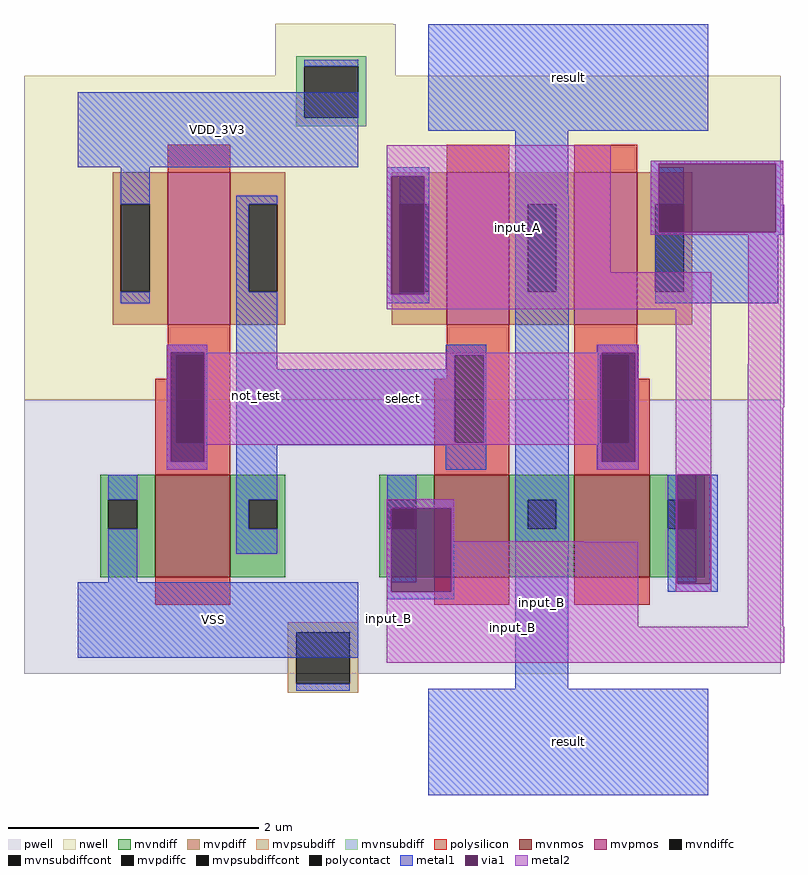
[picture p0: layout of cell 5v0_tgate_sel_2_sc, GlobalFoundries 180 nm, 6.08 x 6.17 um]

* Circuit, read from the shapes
.subckt 5v0_tgate_sel_2_sc input_A input_B result VSS select VDD_3V3 not_test
XM1 n1 select VSS VSS nfet_06v0 w=0.82u l=0.6u
XM2 result n1 input_B VSS nfet_06v0 w=0.82u l=0.6u
XM3 input_A select result VSS nfet_06v0 w=0.82u l=0.6u
XM4 n1 select VDD_3V3 VDD_3V3 pfet_06v0 w=1.22u l=0.5u
XM5 result n1 input_A VDD_3V3 pfet_06v0 w=1.22u l=0.5u
XM6 input_B select result VDD_3V3 pfet_06v0 w=1.22u l=0.5u
.ends

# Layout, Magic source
magic
tech gf180mcuD
magscale 1 10
<< nwell >>
rect -188 840 0 841
rect -188 734 4 840
rect -184 733 4 734
rect -168 724 -26 733
<< mvpsubdiff >>
rect -168 -132 -56 -116
rect -168 -214 -155 -132
rect -69 -214 -56 -132
rect -168 -228 -56 -214
<< mvnsubdiff >>
rect -155 773 -43 789
rect -155 691 -142 773
rect -56 691 -43 773
rect -155 677 -43 691
<< mvpsubdiffcont >>
rect -155 -214 -69 -132
<< mvnsubdiffcont >>
rect -142 691 -56 773
<< metal1 >>
rect -142 773 -56 784
rect -504 691 -142 732
rect -504 612 -56 691
rect 56 670 504 840
rect -10 597 58 612
rect -10 409 -3 597
rect 50 409 58 597
rect -10 394 58 409
rect -361 141 -355 182
rect -302 141 -297 182
rect -249 167 91 289
rect 144 167 147 289
rect -361 139 -297 141
rect -10 67 98 81
rect -504 -132 -56 -52
rect -10 -67 -3 67
rect 93 -67 98 67
rect -10 -79 98 -67
rect -504 -172 -155 -132
rect -69 -172 -56 -132
rect -155 -225 -69 -214
rect 195 -222 280 670
rect 412 617 624 622
rect 412 508 425 617
rect 612 508 624 617
rect 412 504 624 508
rect 419 394 616 504
rect 327 141 334 166
rect 387 141 392 166
rect 327 128 392 141
rect 439 -54 454 120
rect 507 -54 519 120
rect 439 -67 519 -54
rect 56 -392 504 -222
<< via1 >>
rect -3 409 50 597
rect -355 141 -302 316
rect -3 -67 93 67
rect 425 508 612 617
rect 334 141 387 315
rect 454 -54 507 120
<< metal2 >>
rect -10 597 348 647
rect -10 409 -3 597
rect 50 444 348 597
rect 412 617 624 622
rect 412 508 425 617
rect 612 552 624 617
rect 612 508 625 552
rect 412 504 625 508
rect 50 409 509 444
rect -10 385 509 409
rect -362 316 -297 328
rect -362 141 -355 316
rect -302 315 -297 316
rect 326 315 393 328
rect -302 168 334 315
rect -302 141 -297 168
rect -362 128 -297 141
rect 326 141 334 168
rect 387 141 393 315
rect 326 128 393 141
rect 452 120 509 385
rect 568 297 625 504
rect -10 67 98 81
rect -10 -67 -3 67
rect 93 14 98 67
rect 93 13 305 14
rect 93 -67 392 13
rect 452 -54 454 120
rect 507 -54 509 120
rect 452 -67 509 -54
rect 567 228 625 297
rect -10 -123 392 -67
rect 567 -123 624 228
rect -10 -180 625 -123
use half_gate_0  gf180mcu_fd_sc_mcu7t5v0__inv_1_0
transform 1 0 -58 0 1 -112
box -86 -86 534 870
use half_gate_0  half_tgate_0
transform -1 0 534 0 1 -112
box -86 -86 534 870
use not_internal_mod  not_internal_0
transform 1 0 -504 0 1 -112
box -86 -86 534 870
<< labels >>
rlabel metal2 50 385 348 647 1 input_A
port 1 n signal bidirectional
rlabel metal2 82 -180 392 13 1 input_B
port 2 n signal bidirectional
rlabel metal1 56 -392 504 -222 1 result
port 3 n signal bidirectional
rlabel metal1 56 670 504 840 1 result
port 3 n signal bidirectional
rlabel metal2 -302 168 334 315 1 select
port 5 n signal input
rlabel metal1 -504 612 -56 732 1 VDD_3V3
port 6 n power bidirectional
rlabel space -251 80 -185 413 1 not_test
port 7 n signal output
rlabel metal1 -504 -172 -69 -52 1 VSS
port 4 n ground bidirectional
rlabel metal2 -10 -180 -3 -40 1 input_B
port 2 n signal bidirectional
rlabel metal2 -10 -180 392 -67 1 input_B
port 2 n signal bidirectional
<< end >>

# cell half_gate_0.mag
magic
tech gf180mcuD
magscale 1 10
<< nwell >>
rect -86 352 534 870
<< pwell >>
rect -86 -86 534 352
<< mvnmos >>
rect 124 68 244 232
<< mvpmos >>
rect 144 472 244 716
<< mvndiff >>
rect 36 192 124 232
rect 36 146 49 192
rect 95 146 124 192
rect 36 68 124 146
rect 244 192 332 232
rect 244 146 273 192
rect 319 146 332 192
rect 244 68 332 146
<< mvpdiff >>
rect 56 665 144 716
rect 56 525 69 665
rect 115 525 144 665
rect 56 472 144 525
rect 244 665 332 716
rect 244 525 273 665
rect 319 525 332 665
rect 244 472 332 525
<< mvndiffc >>
rect 49 146 95 192
rect 273 146 319 192
<< mvpdiffc >>
rect 69 525 115 665
rect 273 525 319 665
<< polysilicon >>
rect 144 716 244 760
rect 144 423 244 472
rect 144 386 157 423
rect 124 283 157 386
rect 203 283 244 423
rect 124 232 244 283
rect 124 24 244 68
<< polycontact >>
rect 157 283 203 423
<< metal1 >>
rect 69 665 115 724
rect 69 506 115 525
rect 253 665 319 678
rect 253 525 273 665
rect 142 423 207 440
rect 142 283 157 423
rect 203 283 207 423
rect 142 240 207 283
rect 49 192 95 232
rect 49 60 95 146
rect 253 192 319 525
rect 253 146 273 192
rect 253 106 319 146
<< properties >>
string FIXED_BBOX 0 0 448 784
string GDS_END 476332
string GDS_FILE $PDKPATH/libs.ref/gf180mcu_fd_sc_mcu7t5v0/gds/gf180mcu_fd_sc_mcu7t5v0.gds
string GDS_START 474136
string LEFclass core
string LEFsite GF018hv5v_mcu_sc7
string LEFsymmetry X Y
<< end >>

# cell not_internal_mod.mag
magic
tech gf180mcuD
magscale 1 10
<< nwell >>
rect -86 352 534 870
<< pwell >>
rect -86 -86 534 352
<< mvnmos >>
rect 124 68 244 232
<< mvpmos >>
rect 144 472 244 716
<< mvndiff >>
rect 36 192 124 232
rect 36 146 49 192
rect 95 146 124 192
rect 36 68 124 146
rect 244 192 332 232
rect 244 146 273 192
rect 319 146 332 192
rect 244 68 332 146
<< mvpdiff >>
rect 56 665 144 716
rect 56 525 69 665
rect 115 525 144 665
rect 56 472 144 525
rect 244 665 332 716
rect 244 525 273 665
rect 319 525 332 665
rect 244 472 332 525
<< mvndiffc >>
rect 49 146 95 192
rect 273 146 319 192
<< mvpdiffc >>
rect 69 525 115 665
rect 273 525 319 665
<< polysilicon >>
rect 144 716 244 760
rect 144 423 244 472
rect 144 386 157 423
rect 124 283 157 386
rect 203 283 244 423
rect 124 232 244 283
rect 124 24 244 68
<< polycontact >>
rect 157 283 203 423
<< metal1 >>
rect 0 724 448 844
rect 69 665 115 724
rect 69 506 115 525
rect 253 665 319 678
rect 253 525 273 665
rect 142 423 207 440
rect 142 283 157 423
rect 203 283 207 423
rect 142 240 207 283
rect 49 192 95 232
rect 49 60 95 146
rect 253 192 319 525
rect 253 146 273 192
rect 253 106 319 146
rect 0 -60 448 60
<< properties >>
string FIXED_BBOX 0 0 448 784
string GDS_END 476332
string GDS_FILE $PDKPATH/libs.ref/gf180mcu_fd_sc_mcu7t5v0/gds/gf180mcu_fd_sc_mcu7t5v0.gds
string GDS_START 474136
string LEFclass core
string LEFsite GF018hv5v_mcu_sc7
string LEFsymmetry X Y
<< end >>
